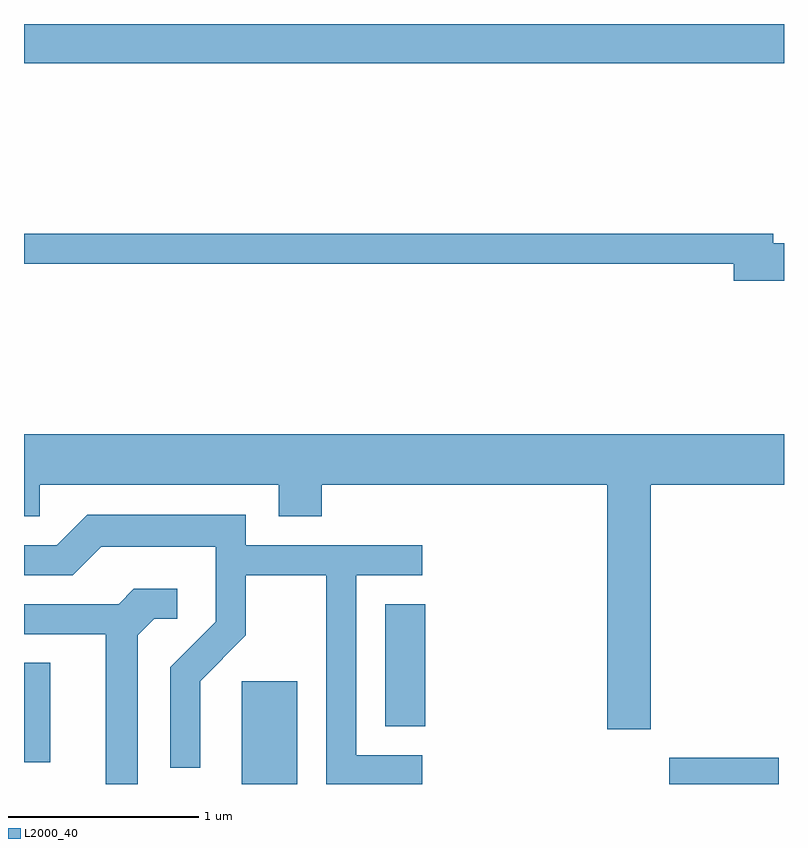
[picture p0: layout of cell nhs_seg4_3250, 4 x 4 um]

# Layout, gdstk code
import gdstk
lib = gdstk.Library(unit=1e-6, precision=1e-09)
def R(c, l, rs):  # rectangles x0, y0, x1, y1
    for r in rs: c.add(gdstk.rectangle(r[:2], r[2:], *l))
def P(c, l, *ps):  # polygons
    for p in ps: c.add(gdstk.Polygon(p, *l))
L2000_40 = (2000, 40)

nhs_seg4_3250 = lib.new_cell('nhs_seg4_3250')
R(nhs_seg4_3250, L2000_40, [(280.756,1361.982,281.049,1362.524), (283.006,1361.982,283.584,1362.119), (279.611,1362.096,279.749,1362.619), (281.511,1362.286,281.724,1362.929), (279.611,1365.776,283.611,1365.982)])
P(nhs_seg4_3250, L2000_40, [(283.611,1364.829),(283.554,1364.829),(283.554,1364.879),(279.611,1364.879),(279.611,1364.721),(283.346,1364.721),(283.346,1364.631),(283.611,1364.631)],
  [(282.909,1363.556),(283.611,1363.556),(283.611,1363.824),(279.611,1363.824),(279.611,1363.391),(279.694,1363.391),(279.694,1363.556),(280.951,1363.556),(280.951,1363.391),(281.179,1363.391),(281.179,1363.556),(282.681,1363.556),(282.681,1362.271),(282.909,1362.271)],
  [(281.708,1362.134),(281.359,1362.134),(281.359,1363.081),(281.708,1363.081),(281.708,1363.239),(280.779,1363.239),(280.779,1363.399),(279.944,1363.399),(279.784,1363.239),(279.611,1363.239),(279.611,1363.081),(279.867,1363.081),(280.017,1363.231),(280.621,1363.231),(280.621,1362.837),(280.381,1362.597),(280.381,1362.068),(280.539,1362.068),(280.539,1362.524),(280.779,1362.764),(280.779,1363.081),(281.201,1363.081),(281.201,1361.982),(281.708,1361.982)],
  [(280.209,1362.764),(280.297,1362.851),(280.418,1362.851),(280.418,1363.009),(280.189,1363.009),(280.109,1362.929),(279.611,1362.929),(279.611,1362.771),(280.041,1362.771),(280.041,1361.982),(280.209,1361.982)])

lib.write_gds('nhs_seg4_3250.gds')
